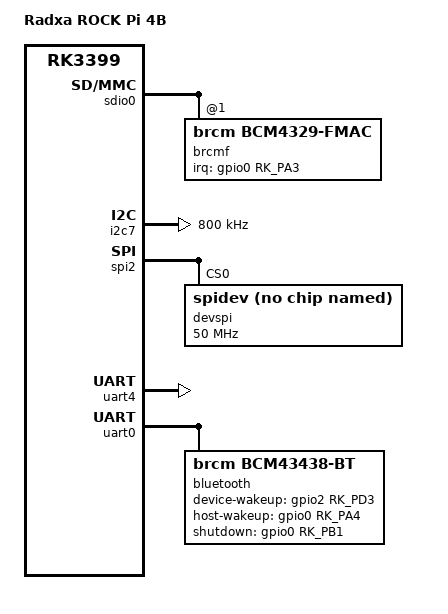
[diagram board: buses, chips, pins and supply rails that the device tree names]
// SPDX-License-Identifier: (GPL-2.0+ OR MIT)
/*
 * Copyright (c) 2019 Akash Gajjar <Akash_Gajjar@mentor.com>
 * Copyright (c) 2019 Pragnesh Patel <Pragnesh_Patel@mentor.com>
 */

/dts-v1/;
#include "rk3399-rock-pi-4.dtsi"

/ {
	model = "Radxa ROCK Pi 4B";
	compatible = "radxa,rockpi4b", "radxa,rockpi4", "rockchip,rk3399";

	chosen {
		stdout-path = "serial2:115200n8";
	};
};

&sdio0 {
	status = "okay";

	brcmf: wifi@1 {
		compatible = "brcm,bcm4329-fmac";
		reg = <1>;
		interrupt-parent = <&gpio0>;
		interrupts = <RK_PA3 GPIO_ACTIVE_HIGH>;
		interrupt-names = "host-wake";
		pinctrl-names = "default";
		pinctrl-0 = <&wifi_host_wake_l>;
	};
};

&i2c1 {
	status = "disabled";
};

&i2c3 {
	status = "disabled";
};

&i2c4 {
	status = "disabled";
};

&i2c7 {
	clock-frequency = <800000>;
	status = "okay";
};

&spi2 {
	max-freq = <10000000>;
	// dmas = <&dmac_peri 0xe>, <&dmac_peri 0xf>;
	// dma-names = "tx","rx";
	#address-cells = <1>;
	#size-cells = <0>;
	status = "okay";
	devspi@0 {
		status = "okay";
		reg = <0>;
		compatible ="rockchip,spidev";
		spi-max-frequency = <0x2faf080>;
	};	
};

// &uart2 {
// 	status = "disabled";
// };

&uart4 {
	status = "okay";
};

&uart0 {
	status = "okay";

	bluetooth {
		compatible = "brcm,bcm43438-bt";
		clocks = <&rk808 1>;
		clock-names = "ext_clock";
		device-wakeup-gpios = <&gpio2 RK_PD3 GPIO_ACTIVE_HIGH>;
		host-wakeup-gpios = <&gpio0 RK_PA4 GPIO_ACTIVE_HIGH>;
		shutdown-gpios = <&gpio0 RK_PB1 GPIO_ACTIVE_HIGH>;
		pinctrl-names = "default";
		pinctrl-0 = <&bt_host_wake_l &bt_wake_l &bt_enable_h>;
	};
};
